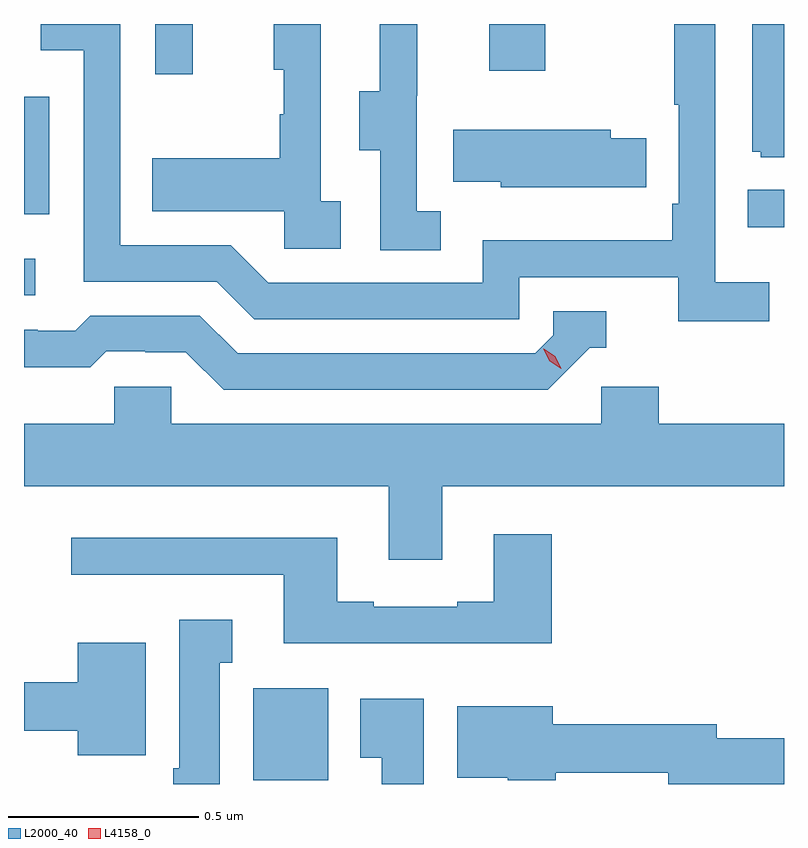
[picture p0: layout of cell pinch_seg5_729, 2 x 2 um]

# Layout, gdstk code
import gdstk
lib = gdstk.Library(unit=1e-6, precision=1e-09)
def R(c, l, rs):  # rectangles x0, y0, x1, y1
    for r in rs: c.add(gdstk.rectangle(r[:2], r[2:], *l))
def P(c, l, *ps):  # polygons
    for p in ps: c.add(gdstk.Polygon(p, *l))
L2000_40 = (2000, 40)
L4158_0 = (4158, 0)

pinch_seg5_729 = lib.new_cell('pinch_seg5_729')
R(pinch_seg5_729, L2000_40, [(1117.742,851.99,1117.939,852.232), (1117.139,853.266,1117.168,853.362), (1119.043,853.445,1119.139,853.544), (1117.139,853.479,1117.206,853.788), (1117.485,853.848,1117.583,853.98), (1118.363,853.857,1118.511,853.98)])
P(pinch_seg5_729, L2000_40, [(1119.139,853.98),(1119.056,853.98),(1119.056,853.644),(1119.078,853.644),(1119.078,853.629),(1119.139,853.629)],
  [(1117.972,853.514),(1117.92,853.514),(1117.92,853.98),(1117.796,853.98),(1117.796,853.86),(1117.822,853.86),(1117.822,853.742),(1117.812,853.742),(1117.812,853.627),(1117.477,853.627),(1117.477,853.487),(1117.824,853.487),(1117.824,853.389),(1117.972,853.389)],
  [(1118.236,853.487),(1118.172,853.487),(1118.172,853.791),(1118.174,853.791),(1118.174,853.98),(1118.075,853.98),(1118.075,853.803),(1118.021,853.803),(1118.021,853.648),(1118.076,853.648),(1118.076,853.384),(1118.236,853.384)],
  [(1119.1,853.3),(1118.958,853.3),(1118.958,853.98),(1118.85,853.98),(1118.85,853.768),(1118.862,853.768),(1118.862,853.507),(1118.845,853.507),(1118.845,853.411),(1118.346,853.411),(1118.346,853.299),(1117.782,853.299),(1117.683,853.398),(1117.392,853.398),(1117.392,853.98),(1117.183,853.98),(1117.183,853.911),(1117.296,853.911),(1117.296,853.302),(1117.646,853.302),(1117.745,853.203),(1118.442,853.203),(1118.442,853.314),(1118.861,853.314),(1118.861,853.198),(1119.1,853.198)],
  [(1118.666,853.551),(1118.777,853.551),(1118.777,853.68),(1118.683,853.68),(1118.683,853.702),(1118.269,853.702),(1118.269,853.565),(1118.394,853.565),(1118.394,853.55),(1118.666,853.55)],
  [(1118.628,853.128),(1118.671,853.128),(1118.671,853.224),(1118.532,853.224),(1118.532,853.161),(1118.484,853.113),(1117.701,853.113),(1117.602,853.212),(1117.313,853.212),(1117.274,853.173),(1117.175,853.173),(1117.175,853.176),(1117.139,853.176),(1117.139,853.077),(1117.313,853.077),(1117.355,853.119),(1117.458,853.119),(1117.458,853.116),(1117.565,853.116),(1117.664,853.017),(1118.517,853.017)],
  [(1118.239,852.764),(1119.139,852.764),(1119.139,852.928),(1118.81,852.928),(1118.81,853.026),(1118.658,853.026),(1118.658,852.928),(1117.527,852.928),(1117.527,853.026),(1117.377,853.026),(1117.377,852.928),(1117.139,852.928),(1117.139,852.764),(1118.099,852.764),(1118.099,852.57),(1118.239,852.57)],
  [(1118.528,852.637),(1118.375,852.637),(1118.375,852.46),(1118.279,852.46),(1118.279,852.447),(1118.059,852.447),(1118.059,852.46),(1117.963,852.46),(1117.963,852.628),(1117.263,852.628),(1117.263,852.531),(1117.823,852.531),(1117.823,852.35),(1118.528,852.35)],
  [(1117.654,852.299),(1117.687,852.299),(1117.687,852.412),(1117.547,852.412),(1117.547,852.022),(1117.532,852.022),(1117.532,851.98),(1117.654,851.98)],
  [(1117.459,852.352),(1117.28,852.352),(1117.28,852.248),(1117.139,852.248),(1117.139,852.12),(1117.28,852.12),(1117.28,852.056),(1117.459,852.056)],
  [(1118.191,852.205),(1118.024,852.205),(1118.024,852.049),(1118.081,852.049),(1118.081,851.98),(1118.191,851.98)],
  [(1119.139,852.101),(1118.962,852.101),(1118.962,852.137),(1118.53,852.137),(1118.53,852.184),(1118.279,852.184),(1118.279,851.996),(1118.412,851.996),(1118.412,851.99),(1118.538,851.99),(1118.538,852.009),(1118.834,852.009),(1118.834,851.98),(1119.139,851.98)])
P(pinch_seg5_729, L4158_0, [(1118.553,853.073),(1118.522,853.093),(1118.506,853.126),(1118.506,853.126),(1118.507,853.126),(1118.537,853.106),(1118.553,853.074),(1118.553,853.073)])

lib.write_gds('pinch_seg5_729.gds')
